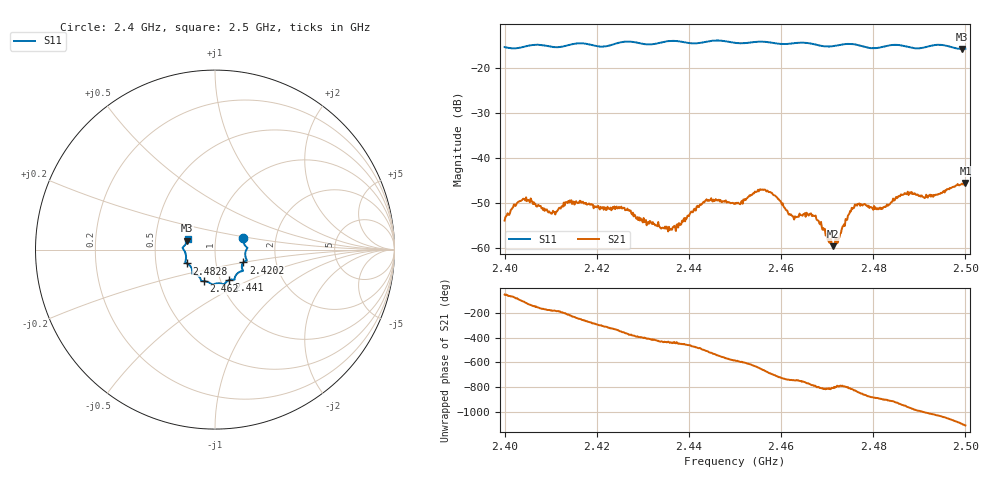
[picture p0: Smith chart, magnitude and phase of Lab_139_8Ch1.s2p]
# Hz S RI R 50
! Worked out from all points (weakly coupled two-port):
!   601 points, 2.4 GHz to 2.5 GHz, reference 50 ohm
!   highest |S21| = -45.51 dB at 2.5 GHz (marker M1); lowest = -59.5 dB at 2.4713 GHz (marker M2)
!   lowest |S11| = -15.8 dB at 2.4992 GHz (marker M3), VSWR 1.39, Z = 36.4 + j3.66 ohm
!   |S11| at or under -10 dB: start of sweep to end of sweep
!   S12 and S22 are empty: the file has one direction only
!   S11 on the Smith chart (normalised r, x): 2.4 GHz: 1.36, +0.18; 2.4202 GHz: 1.36, -0.20; 2.441 GHz: 1.10, -0.39; 2.462 GHz: 0.84, -0.30; 2.4828 GHz: 0.72, -0.11; 2.5 GHz: 0.73, +0.09
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2.4e9  0.1582 0.0625  0.00116 -0.00167  0 0  0 0
2.404167e9  0.1706 0.0187  -0.00131 -0.00329  0 0  0 0
2.4105e9  0.1703 -0.0114  -0.0026 0.000206  0 0  0 0
2.416667e9  0.1775 -0.0606  -0.00082 0.00309  0 0  0 0
2.420167e9  0.1584 -0.0713  0.00127 0.00262  0 0  0 0
2.4255e9  0.1554 -0.1156  0.00276 0.000176  0 0  0 0
2.433333e9  0.112 -0.151  0.000812 -0.00178  0 0  0 0
2.436667e9  0.1084 -0.1677  0.000225 -0.0017  0 0  0 0
2.441e9  0.0786 -0.1699  -0.000976 -0.00245  0 0  0 0
2.444333e9  0.0545 -0.1901  -0.00312 -0.00127  0 0  0 0
2.45e9  0.0283 -0.1878  -0.00229 0.00217  0 0  0 0
2.456167e9  -0.0164 -0.1946  0.00225 0.00382  0 0  0 0
2.462e9  -0.0603 -0.1759  0.00219 -0.000851  0 0  0 0
2.466667e9  -0.0788 -0.1681  0.00104 -0.00203  0 0  0 0
2.471333e9  -0.1075 -0.1376  7.87e-05 -0.00105  0 0  0 0
2.4765e9  -0.1271 -0.1279  -0.00131 -0.00267  0 0  0 0
2.482833e9  -0.1573 -0.0769  -0.00296 -6.72e-06  0 0  0 0
2.483333e9  -0.1605 -0.0754  -0.00304 0.00023  0 0  0 0
2.4865e9  -0.1641 -0.0637  -0.00287 0.00268  0 0  0 0
2.491333e9  -0.1697 -0.00815  0.000726 0.0036  0 0  0 0
2.499167e9  -0.1548 0.0489  0.00503 -0.00106  0 0  0 0
2.5e9  -0.1522 0.0608  0.00477 -0.00232  0 0  0 0
